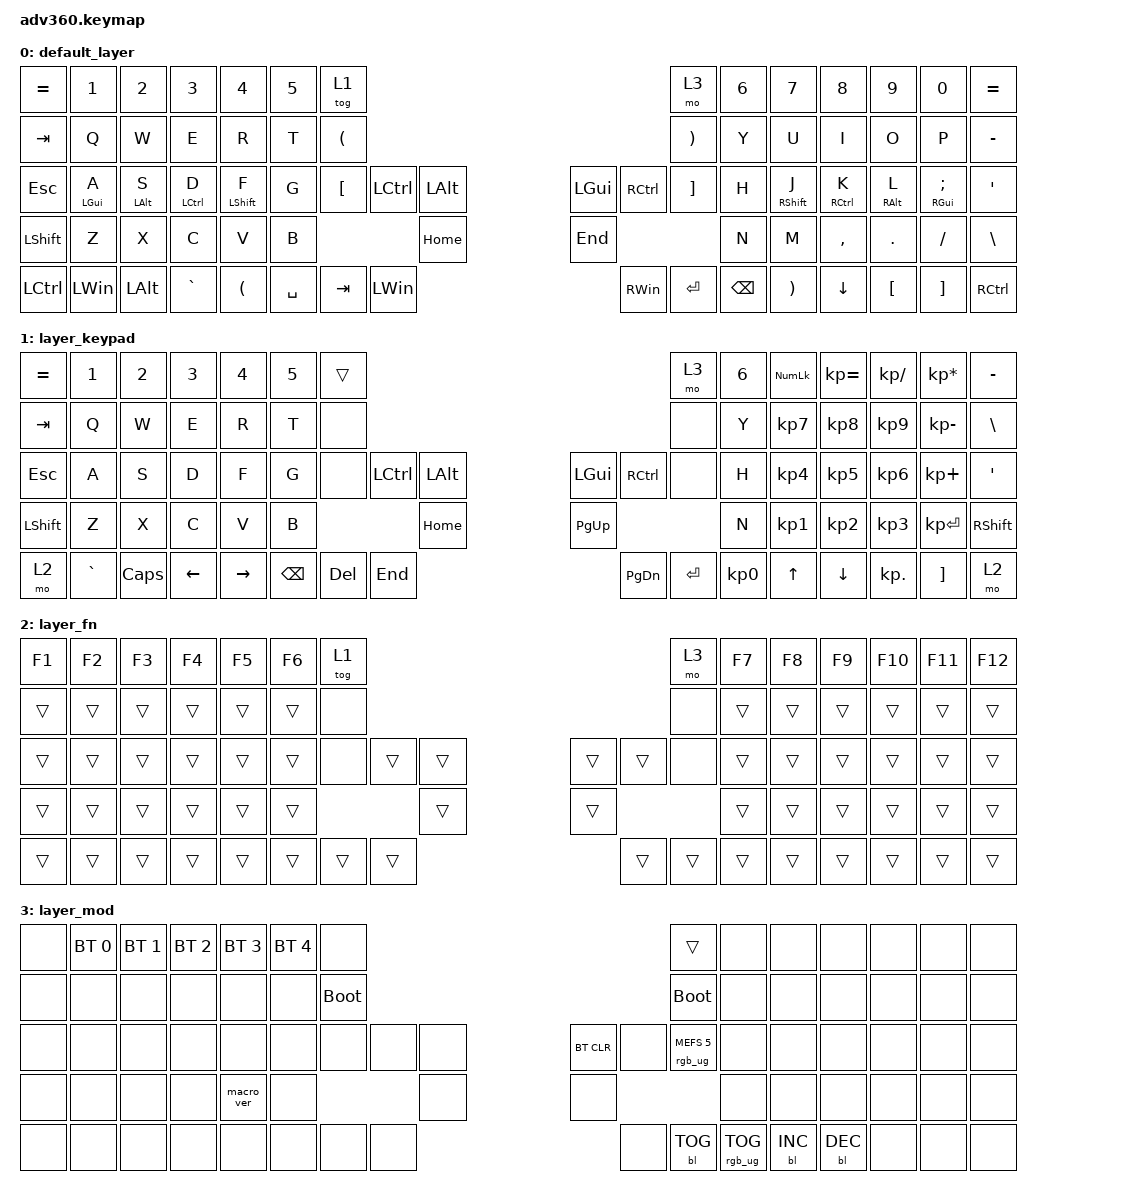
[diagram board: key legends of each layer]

/*
 * Copyright (c) 2020 The ZMK Contributors
 *
 * SPDX-License-Identifier: MIT
 */


/* THIS FILE WAS GENERATED!
 *
 * This file was generated automatically. You may or may not want to
 * edit it directly.
 */

#include <behaviors.dtsi>
#include <dt-bindings/zmk/keys.h>
#include <dt-bindings/zmk/bt.h>
#include <dt-bindings/zmk/rgb.h>
#include <dt-bindings/zmk/backlight.h>

/* Key positions for home row mod handling */
#define KEYS_L LT0 LT1 LT2 LT3 LT4 LT5 LM0 LM1 LM2 LM3 LM4 LM5 LB0 LB1 LB2 LB3 LB4 LB5  // left-hand keys
#define KEYS_R RT0 RT1 RT2 RT3 RT4 RT5 RM0 RM1 RM2 RM3 RM4 RM5 RB0 RB1 RB2 RB3 RB4 RB5  // right-hand keys
#define THUMBS LH0 LH1 LH2 RH0 RH1 RH2

/ {
  behaviors {
    #include "macros.dtsi"
    #include "version.dtsi"

    hml: homerow_mods_left {
        compatible = "zmk,behavior-hold-tap";
        label = "HOMEROW_MODS_LEFT";
        #binding-cells = <2>;
        flavor = "balanced";
        tapping-term-ms = <280>;
        quick-tap-ms = <175>;
        require-prior-idle-ms = <150>;
        bindings = <&kp>, <&kp>;
        hold-trigger-on-release;
        hold-trigger-key-positions = <36 37 38 39 40 41 48 49 50 51 52 53 70 69 74 72 73 75>;
    };

    hmr: homerow_mods_right {
        compatible = "zmk,behavior-hold-tap";
        label = "HOMEROW_MODS_RIGHT";
        #binding-cells = <2>;
        flavor = "balanced";
        tapping-term-ms = <280>;
        quick-tap-ms = <175>;
        require-prior-idle-ms = <150>;
        bindings = <&kp>, <&kp>;
        hold-trigger-key-positions = <19 18 17 16 15 14 33 32 31 30 29 28 47 46 45 44 43 42 70 69 74 72 73 75>;
        hold-trigger-on-release;
    };
  };

    keymap {
        compatible = "zmk,keymap";


        default_layer {
            bindings = <
 &kp EQUAL        &kp N1        &kp N2     &kp N3                &kp N4  &kp N5                          &tog 1                                                                            &mo 3  &kp N6                 &kp N7     &kp N8    &kp N9    &kp N0      &kp EQUAL
   &kp TAB         &kp Q         &kp W      &kp E                 &kp R   &kp T            &kp LEFT_PARENTHESIS                                                            &kp RIGHT_PARENTHESIS   &kp Y                  &kp U      &kp I     &kp O     &kp P      &kp MINUS
   &kp ESC        &hml LGUI A   &hml LALT S &hml LCTRL D        &hml LSHFT F &kp G       &kp LEFT_BRACKET  &kp LCTRL  &kp LALT                  &kp LGUI  &kp RCTRL     &kp RBKT   &kp H      &hmr RSHFT J  &hmr RCTRL K &hmr RALT L &hmr RGUI SEMI &kp SQT
 &kp LSHFT         &kp Z         &kp X      &kp C                 &kp V   &kp B                                             &kp HOME                   &kp END                                     &kp N                  &kp M  &kp COMMA   &kp DOT  &kp FSLH  &kp BACKSLASH
 &kp LCTRL  &kp LEFT_WIN  &kp LEFT_ALT  &kp GRAVE  &kp LEFT_PARENTHESIS                               &kp SPACE    &kp TAB  &kp LWIN                  &kp RWIN  &kp ENTER          &kp BACKSPACE          &kp RIGHT_PARENTHESIS   &kp DOWN  &kp LBKT  &kp RBKT      &kp RCTRL
            >;
        };

        layer_keypad {
            bindings = <
 &kp EQUAL     &kp N1    &kp N2    &kp N3     &kp N4  &kp N5              &trans                                                                 &mo 3  &kp N6  &kp KP_NUM  &kp KP_EQUAL  &kp KP_DIVIDE  &kp KP_MULTIPLY  &kp MINUS
   &kp TAB      &kp Q     &kp W     &kp E      &kp R   &kp T               &none                                                                 &none   &kp Y   &kp KP_N7     &kp KP_N8      &kp KP_N9     &kp KP_MINUS   &kp BSLH
   &kp ESC      &kp A     &kp S     &kp D      &kp F   &kp G               &none  &kp LCTRL  &kp LALT                   &kp LGUI  &kp RCTRL      &none   &kp H   &kp KP_N4     &kp KP_N5      &kp KP_N6      &kp KP_PLUS    &kp SQT
 &kp LSHFT      &kp Z     &kp X     &kp C      &kp V   &kp B                                 &kp HOME                  &kp PG_UP                         &kp N   &kp KP_N1     &kp KP_N2      &kp KP_N3     &kp KP_ENTER  &kp RSHFT
     &mo 2  &kp GRAVE  &kp CAPS  &kp LEFT  &kp RIGHT                    &kp BSPC    &kp DEL   &kp END                  &kp PG_DN  &kp ENTER  &kp KP_N0              &kp UP      &kp DOWN     &kp KP_DOT         &kp RBKT      &mo 2
            >;
        };

        layer_fn {
            bindings = <
 &kp F1  &kp F2  &kp F3  &kp F4  &kp F5  &kp F6            &tog 1                                                   &mo 3  &kp F7  &kp F8  &kp F9  &kp F10  &kp F11  &kp F12
 &trans  &trans  &trans  &trans  &trans  &trans             &none                                                   &none  &trans  &trans  &trans   &trans   &trans   &trans
 &trans  &trans  &trans  &trans  &trans  &trans             &none  &trans  &trans                  &trans  &trans   &none  &trans  &trans  &trans   &trans   &trans   &trans
 &trans  &trans  &trans  &trans  &trans  &trans                            &trans                  &trans                  &trans  &trans  &trans   &trans   &trans   &trans
 &trans  &trans  &trans  &trans  &trans                    &trans  &trans  &trans                  &trans  &trans  &trans          &trans  &trans   &trans   &trans   &trans
            >;
        };

        layer_mod {
            bindings = <
  &none  &bt BT_SEL 0  &bt BT_SEL 1  &bt BT_SEL 2  &bt BT_SEL 3  &bt BT_SEL 4                  &none                                                                          &trans   &none       &none       &none   &none   &none   &none
  &none         &none         &none         &none         &none         &none            &bootloader                                                                     &bootloader   &none       &none       &none   &none   &none   &none
  &none         &none         &none         &none         &none         &none                  &none   &none   &none                  &bt BT_CLR       &none  &rgb_ug RGB_MEFS_CMD 5   &none       &none       &none   &none   &none   &none
  &none         &none         &none         &none    &macro_ver         &none                                  &none                       &none                                       &none       &none       &none   &none   &none   &none
  &none         &none         &none         &none         &none                                &none   &none   &none                       &none  &bl BL_TOG         &rgb_ug RGB_TOG          &bl BL_INC  &bl BL_DEC   &none   &none   &none
            >;
        };

    };
};
